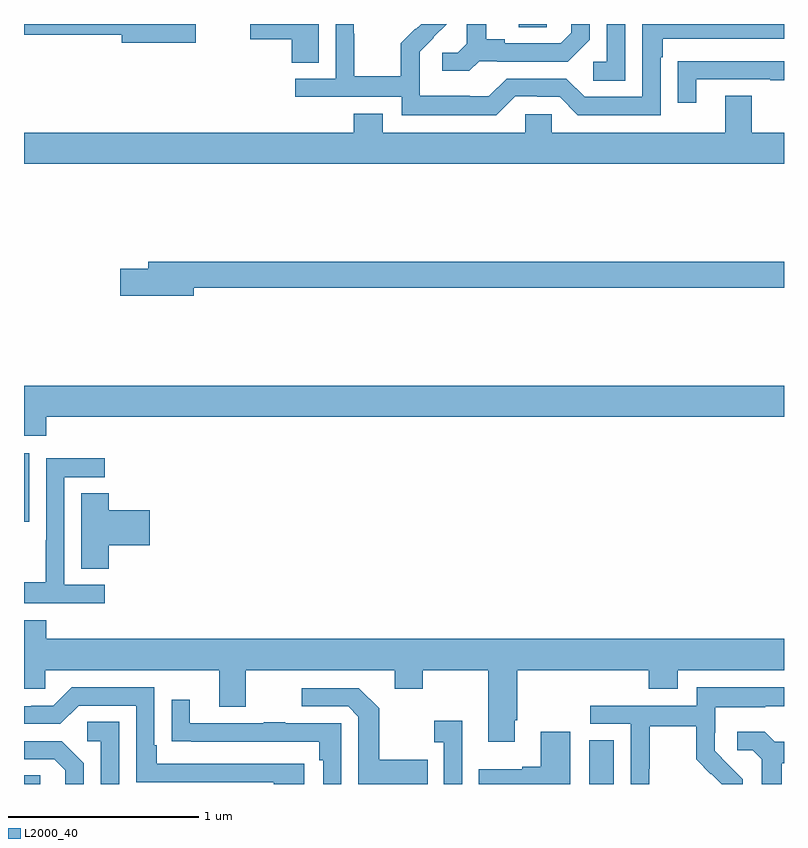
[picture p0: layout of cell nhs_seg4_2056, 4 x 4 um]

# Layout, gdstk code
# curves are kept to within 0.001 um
import gdstk
lib = gdstk.Library(unit=1e-6, precision=1e-09)
def R(c, l, rs):  # rectangles x0, y0, x1, y1
    for r in rs: c.add(gdstk.rectangle(r[:2], r[2:], *l))
def P(c, l, *ps):  # polygons
    for p in ps: c.add(gdstk.Polygon(p, *l))
L2000_40 = (2000, 40)

nhs_seg4_2056 = lib.new_cell('nhs_seg4_2056')
R(nhs_seg4_2056, L2000_40, [(217,782.9,217.086,782.945), (219.974,782.9,220.105,783.131), (217,784.281,217.027,784.642), (219.605,786.883,219.75,786.9)])
P(nhs_seg4_2056, L2000_40, [(220.164,786.9),(220.068,786.9),(220.068,786.702),(219.996,786.702),(219.996,786.601),(220.164,786.601)],
  [(218.551,786.9),(218.19,786.9),(218.19,786.821),(218.408,786.821),(218.408,786.697),(218.551,786.697)],
  [(219.396,786.705),(219.49,786.705),(219.49,786.702),(219.862,786.702),(219.978,786.818),(219.978,786.9),(219.881,786.9),(219.881,786.855),(219.824,786.798),(219.529,786.798),(219.529,786.821),(219.433,786.821),(219.433,786.9),(219.329,786.9),(219.329,786.797),(219.282,786.75),(219.201,786.75),(219.201,786.653),(219.344,786.653)],
  [(217.903,786.9),(217,786.9),(217,786.844),(217.514,786.844),(217.514,786.802),(217.903,786.802)],
  [(219.585,786.519),(219.701,786.519),(219.701,786.516),(219.819,786.516),(219.915,786.42),(220.35,786.42),(220.35,786.725),(220.363,786.725),(220.363,786.822),(221,786.822),(221,786.9),(220.254,786.9),(220.254,786.516),(219.951,786.516),(219.855,786.612),(219.54,786.612),(219.447,786.519),(219.347,786.519),(219.347,786.523),(219.084,786.523),(219.084,786.657),(219.082,786.657),(219.082,786.754),(219.226,786.9),(219.09,786.9),(219.063,786.873),(219.06,786.876),(218.983,786.799),(218.983,786.625),(218.739,786.625),(218.739,786.848),(218.736,786.848),(218.736,786.9),(218.64,786.9),(218.64,786.612),(218.427,786.612),(218.427,786.516),(218.988,786.516),(218.988,786.419),(219.485,786.419)],
  [(220.537,786.609),(220.927,786.609),(220.927,786.604),(221,786.604),(221,786.705),(220.543,786.705),(220.543,786.704),(220.441,786.704),(220.441,786.486),(220.537,786.486)],
  [(221,786.328),(220.831,786.328),(220.831,786.523),(220.691,786.523),(220.691,786.328),(219.777,786.328),(219.777,786.426),(219.639,786.426),(219.639,786.328),(218.887,786.328),(218.887,786.427),(218.735,786.427),(218.735,786.328),(217,786.328),(217,786.164),(221,786.164)],
  [(217.894,785.512),(221,785.512),(221,785.648),(217.655,785.648),(217.655,785.612),(217.506,785.612),(217.506,785.47),(217.894,785.47)],
  [(217.118,784.832),(221,784.832),(221,784.996),(217,784.996),(217,784.733),(217.118,784.733)],
  [(217.426,783.948),(217.212,783.948),(217.212,784.515),(217.426,784.515),(217.426,784.614),(217.116,784.614),(217.116,784.184),(217.114,784.184),(217.114,783.961),(217,783.961),(217,783.852),(217.426,783.852)],
  [(217.445,784.157),(217.663,784.157),(217.663,784.34),(217.445,784.34),(217.445,784.43),(217.301,784.43),(217.301,784.033),(217.445,784.033)],
  [(219.583,783.235),(219.596,783.235),(219.596,783.5),(220.289,783.5),(220.289,783.401),(220.441,783.401),(220.441,783.5),(221,783.5),(221,783.664),(217.118,783.664),(217.118,783.763),(217,783.763),(217,783.402),(217.113,783.402),(217.113,783.5),(218.027,783.5),(218.027,783.306),(218.167,783.306),(218.167,783.5),(218.951,783.5),(218.951,783.401),(219.099,783.401),(219.099,783.5),(219.443,783.5),(219.443,783.123),(219.583,783.123)],
  [(220.29,782.98),(220.293,782.98),(220.293,783.204),(220.537,783.204),(220.537,783.029),(220.614,782.952),(220.617,782.955),(220.673,782.9),(220.782,782.9),(220.782,782.926),(220.636,783.074),(220.636,783.171),(220.638,783.171),(220.638,783.305),(220.901,783.305),(220.901,783.309),(221,783.309),(221,783.409),(220.542,783.409),(220.542,783.312),(219.981,783.312),(219.981,783.216),(220.194,783.216),(220.194,782.9),(220.29,782.9)],
  [(218.476,783.006),(217.699,783.006),(217.699,783.103),(217.686,783.103),(217.686,783.408),(217.251,783.408),(217.155,783.312),(217.037,783.312),(217.037,783.309),(217,783.309),(217,783.216),(217.191,783.216),(217.287,783.312),(217.59,783.312),(217.59,782.91),(218.315,782.91),(218.315,782.9),(218.476,782.9)],
  [(219.125,783.027),(218.869,783.027),(218.869,783.299),(218.763,783.405),(218.463,783.405),(218.463,783.309),(218.706,783.309),(218.76,783.255),(218.76,782.9),(219.125,782.9)],
  [(218.67,783.219),(218.375,783.219),(218.375,783.224),(218.263,783.224),(218.263,783.219),(217.873,783.219),(217.873,783.343),(217.777,783.343),(217.777,783.124),(217.879,783.124),(217.879,783.123),(218.554,783.123),(218.554,783.026),(218.574,783.026),(218.574,782.9),(218.67,782.9)],
  [(219.306,783.232),(219.159,783.232),(219.159,783.119),(219.21,783.119),(219.21,782.9),(219.306,782.9)],
  [(217.5,783.227),(217.332,783.227),(217.332,783.126),(217.404,783.126),(217.404,782.9),(217.5,782.9)],
  [(219.874,783.175),(219.719,783.175),(219.719,782.99),(219.623,782.99),(219.623,782.977),(219.393,782.977),(219.393,782.9),(219.874,782.9)],
  [(220.987,783.008),(221,783.008),(221,783.123),(220.95,783.123),(220.898,783.175),(220.755,783.175),(220.755,783.078),(220.836,783.078),(220.883,783.031),(220.883,782.9),(220.987,782.9)],
  [(217.314,783.01),(217.198,783.126),(217,783.126),(217,783.03),(217.16,783.03),(217.217,782.973),(217.217,782.9),(217.314,782.9)])

lib.write_gds('nhs_seg4_2056.gds')
